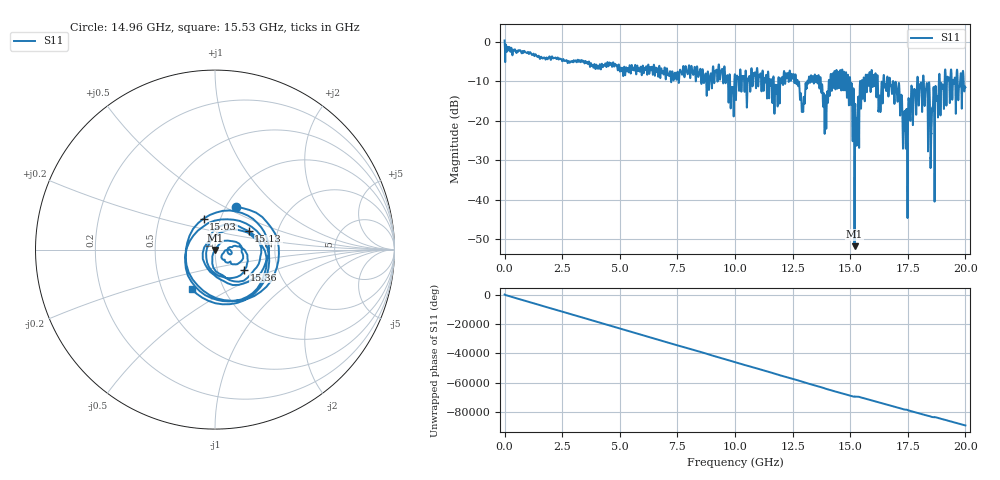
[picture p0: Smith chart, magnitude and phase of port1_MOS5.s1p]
! MS46122B
! 2250307/22442219
! 7/24/2025 7:36:50 AM
! C:\USERS\SPARKY\DOCUMENTS\VNA_DATA\JULY24_2025\3K\PORT1_MOS5.S1P
! CHANNEL.1
! TR.MEASUREMENT
! RAW.DATA
# GHZ S RI R 50.0
! FREQ.GHZ  S11RE  S11IM
!; PortSelection: Port_1
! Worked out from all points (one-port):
!   10001 points, 1 MHz to 20 GHz, reference 50 ohm
!   lowest |S11| = -51.8 dB at 15.19 GHz (marker M1), VSWR 1.01, Z = 50 - j0.254 ohm
!   |S11| at or under -10 dB: 15 GHz to 15.43 GHz (428.4 MHz wide, 2.82 % of centre); 16.86 GHz to 17.91 GHz (1.046 GHz wide, 6.02 % of centre); 18.2 GHz to 18.85 GHz (650.5 MHz wide, 3.51 % of centre) (the widest 3 of 83)
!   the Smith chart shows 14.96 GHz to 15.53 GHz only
!   S11 on the Smith chart (normalised r, x): 14.96 GHz: 1.11, +0.57; 15.03 GHz: 0.83, +0.30; 15.13 GHz: 1.42, +0.31; 15.36 GHz: 1.35, -0.31; 15.53 GHz: 0.71, -0.33
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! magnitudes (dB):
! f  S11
! 1 MHz  0.4
! 2.501 GHz  -4.9
! 5.001 GHz  -7.5
! 7.501 GHz  -7.6
! 9.365 GHz  -8.6
! 10 GHz  -8.3
! 12.5 GHz  -9.3
! 12.93 GHz  -15.8
! 13.3 GHz  -8.4
! 13.7 GHz  -9.2
! 13.9 GHz  -19.6
! 14.24 GHz  -8.0
! 14.96 GHz  -11.5
! 15 GHz  -10.1
! 15.03 GHz  -14.7
! 15.13 GHz  -13.4
! 15.19 GHz  -51.8
! 15.36 GHz  -14.1
! 15.53 GHz  -11.8
! 16.79 GHz  -11.5
! 17.39 GHz  -19.6
! 17.5 GHz  -22.9
! 17.99 GHz  -13.8
! 18.25 GHz  -13.4
! 18.57 GHz  -17.1
! 18.79 GHz  -14.1
! 19.19 GHz  -12.0
! 20 GHz  -11.5
